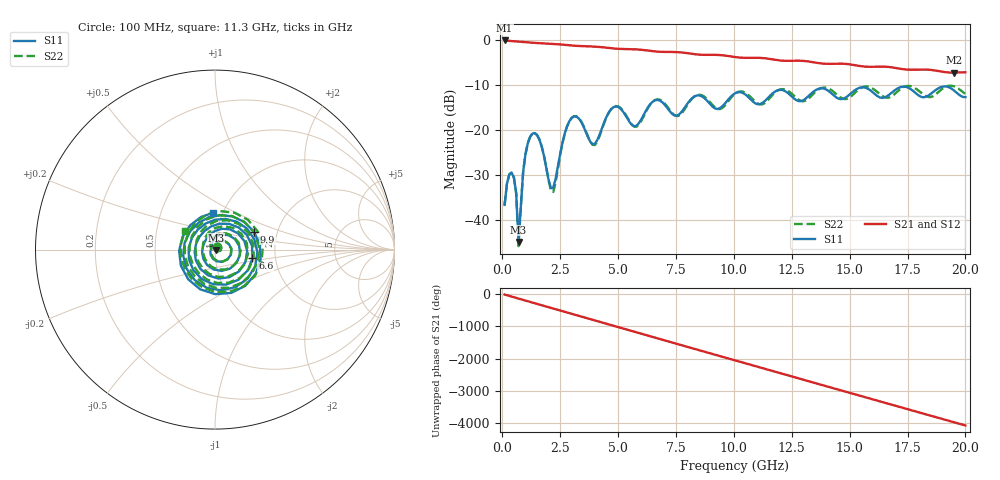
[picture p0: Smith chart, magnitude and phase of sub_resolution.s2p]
! Touchstone file exported from Ansys Full-Wave Spice
! Project: sub_resolution
!  Design: unknown
! Creation time: Tue Aug 11 13:47:15 2026
! Notes: Touchstone(R) file created by SIwave 2026 R1
!  : Touchstone(R) file created on Tue Aug 11 13:47:15 2026
!  : Design: Cell_OU2HLV
!  : Path:
!  : *** SIwave SYZ Simulation Settings ***
!  : SI/PI Main
!  :  SI Simulation -  Balanced
!  : SI/PI Advanced
!  :  Coupling
!  :  Coplane: On
!  :  Intra-plane: Off
!  :  Split-plane: On
!  :  Cavity field: On
!  :  Trace: On
!  :  Cross-talk threshold: -34dB
!  :  Max. coupled lines: 12
!  :  Geometry Processing
!  :  Void area threshold: 2mm^2
!  :  Pad area threshold: 3.712mm^2
!  :  Planes area threshold: 3.364E-05mm^2
!  :  Vertex snap distance threshold: 0.0025mm
!  :  Mesh Refinement
!  :  Auto
!  :  AC/DC Merge
!  :  Default
!  :  Trace return current distribution: Off
!  :  Include voltage/current source parasitics: No
!  :  Add infinite ground plane: No
!  :  Exclude non-functional pads: Yes
!  : Temperature
!  :  Uniform distribution: 20cel
!  : Net Processing
!  :  Auto select nets
!  : S-parameter Modeling
!  :  State Space Model
!  : Sweep
!  :  Name: TDR_VALIDATION_sub_resolution
!  :  AC/DC Merge: Off
!  :  Discrete Sweep
!  :  Frequency Point Distribution:
!  :  Linear Step: 1E+08Hz -> 2E+10Hz 1E+08Hz step
!  :  Enforce Causality: Yes
!  :  Enforce Passivity: Yes
!  :  Q3D Regions: Off
!  :  HFSS Regions: Off
! Modal data exported
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# HZ S RI R 50
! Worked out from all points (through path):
!   200 points, 100 MHz to 20 GHz, reference 50 ohm
!   highest |S21| = -0.10 dB at 100 MHz (marker M1); lowest = -7.2 dB at 19.5 GHz (marker M2)
!   group delay of S21, straight-line fit = 564 ps
!   lowest |S11| = -44.9 dB at 700 MHz (marker M3), VSWR 1.01, Z = 50.5 - j0.23 ohm
!   |S11| at or under -10 dB: start of sweep to end of sweep
!   |S22| runs from -45.8 to -10.1 dB; largest |S21 - S12| = 0
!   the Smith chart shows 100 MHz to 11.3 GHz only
!   S11 on the Smith chart (normalised r, x): 100 MHz: 1.02, +0.02; 6.6 GHz: 1.52, -0.15; 9.9 GHz: 1.51, +0.32; 11.3 GHz: 0.90, +0.39
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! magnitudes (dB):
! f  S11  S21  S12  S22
! 100 MHz  -36.6  -0.1  -0.1  -36.6
! 500 MHz  -30.5  -0.3  -0.3  -30.5
! 600 MHz  -34.0  -0.3  -0.3  -34.0
! 700 MHz  -44.9  -0.3  -0.3  -45.8
! 900 MHz  -29.3  -0.4  -0.4  -29.3
! 1.2 GHz  -21.5  -0.6  -0.6  -21.5
! 1.6 GHz  -22.1  -0.7  -0.7  -22.0
! 2.2 GHz  -32.8  -0.9  -0.9  -33.7
! 2.9 GHz  -18.0  -1.2  -1.2  -18.0
! 3.5 GHz  -19.1  -1.4  -1.4  -19.0
! 4 GHz  -23.0  -1.5  -1.5  -23.3
! 4.8 GHz  -14.9  -1.9  -1.9  -14.9
! 5.8 GHz  -19.0  -2.1  -2.1  -19.2
! 6.6 GHz  -13.4  -2.5  -2.5  -13.3
! 6.8 GHz  -13.4  -2.6  -2.6  -13.3
! 9.9 GHz  -12.4  -3.7  -3.7  -12.7
! 10.1 GHz  -11.7  -3.8  -3.8  -11.7
! 11.3 GHz  -13.7  -4.0  -4.0  -14.1
! 13.4 GHz  -11.6  -4.9  -4.9  -12.1
! 16.7 GHz  -12.2  -6.0  -6.0  -12.8
! 19.5 GHz  -11.2  -7.2  -7.2  -10.3
! 20 GHz  -12.7  -7.2  -7.2  -12.0
